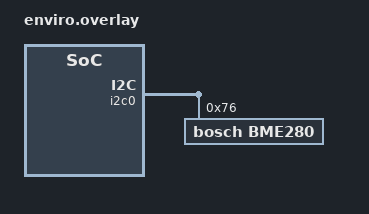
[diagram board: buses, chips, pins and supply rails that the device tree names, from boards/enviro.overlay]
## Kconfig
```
# Copyright (c) 2020, Nordic Semiconductor ASA
# SPDX-License-Identifier: Apache-2.0


# Enable SPI and I2C support by default so that the sample works with
# the device connected either way. These defaults can be overridden if
# needed.
config I2C
	default y

source "Kconfig.zephyr"
```

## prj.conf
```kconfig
#
# Copyright (c) 2023 Nordic Semiconductor ASA
#
# SPDX-License-Identifier: Apache-2.0
#
CONFIG_BT=y
CONFIG_BT_PERIPHERAL=y
CONFIG_BT_DEVICE_NAME="Enviro BME280"
CONFIG_GPIO=y
CONFIG_I2C=y
CONFIG_SENSOR=y
CONFIG_SENSOR_ASYNC_API=y
CONFIG_PRINTK=y
CONFIG_LOG_PRINTK=y
CONFIG_DSP=y
CONFIG_PM_DEVICE=y
CONFIG_PM_DEVICE_RUNTIME=n
CONFIG_PM_STATS=y
CONFIG_STATS=y

CONFIG_SERIAL=n
CONFIG_CONSOLE=y
CONFIG_UART_CONSOLE=y
CONFIG_LOG_MAX_LEVEL=4
CONFIG_LOG_OVERRIDE_LEVEL=4
```

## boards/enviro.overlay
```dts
&i2c0 {
	bme280@76 {
		/* 0x76 - SDO <-> GND */
		/* 0x77 - SDO <-> VCC */
		compatible = "bosch,bme280";
		reg = <0x76>;
		status = "okay";
	};
};
```

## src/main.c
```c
/*
 * Copyright (c) 2023 Nordic Semiconductor ASA
 *
 * SPDX-License-Identifier: Apache-2.0
 */

#include <zephyr/kernel.h>

#include <zephyr/device.h>
#include <zephyr/drivers/gpio.h>
#include <zephyr/drivers/sensor.h>
#include <zephyr/drivers/sensor_data_types.h>
#include <zephyr/rtio/rtio.h>

#include <zephyr/bluetooth/bluetooth.h>
#include <zephyr/bluetooth/uuid.h>
#include <zephyr/sys/printk.h>

/* size of stack area used by each thread */
#define STACKSIZE 256

/* scheduling priority used by each thread */
#define PRIORITY 7

#define LED_ON_TIME 100 // heartbeat LED on duration in microseconds
#define LED_FREQUENCY 5 // heartbeat LED frequency in seconds

const struct device *const dev = DEVICE_DT_GET_ANY(bosch_bme280);

SENSOR_DT_READ_IODEV(iodev, DT_COMPAT_GET_ANY_STATUS_OKAY(bosch_bme280),
		{SENSOR_CHAN_AMBIENT_TEMP, 0},
		{SENSOR_CHAN_HUMIDITY, 0},
		{SENSOR_CHAN_PRESS, 0});

RTIO_DEFINE(ctx, 1, 1);


#define LED0_NODE DT_ALIAS(led0)
static const struct gpio_dt_spec led_err = GPIO_DT_SPEC_GET(LED0_NODE, gpios);

#define LED1_NODE DT_ALIAS(led1)
static const struct gpio_dt_spec led_ok = GPIO_DT_SPEC_GET(LED1_NODE, gpios);

//#define LED1_NODE DT_ALIAS(led1)
//static const struct gpio_dt_spec led1 = GPIO_DT_SPEC_GET(LED1_NODE, gpios);


typedef enum led_status {
	HEARTBEAT,
	ERROR,
	FATAL
} led_status;

led_status led_current = HEARTBEAT;

#define SERVICE_DATA_LEN        9
#define SERVICE_UUID            0xfcd2      /* BTHome service UUID */
#define IDX_TEMPL               4           /* Index of lo byte of temp in service data*/
#define IDX_TEMPH               5           /* Index of hi byte of temp in service data*/

#define IDX_HUML                7
#define IDX_HUMH                8

#define ADV_PARAM BT_LE_ADV_PARAM(BT_LE_ADV_OPT_USE_IDENTITY, \
				  BT_GAP_ADV_SLOW_INT_MIN, \
				  BT_GAP_ADV_SLOW_INT_MAX, NULL)



#define DELAY 2000000
#define ALARM_CHANNEL_ID 0

static uint8_t service_data[SERVICE_DATA_LEN] = {
	BT_UUID_16_ENCODE(SERVICE_UUID),
	0x40,
	0x02,	/* Temperature */
	0xc4,	/* Low byte */
	0x00,   /* High byte */
	0x03,	/* Humidity */
	0xbf,	/* 50.55%  low byte*/
	0x13,   /* 50.55%  high byte*/
};

static struct bt_data ad[] = {
	BT_DATA_BYTES(BT_DATA_FLAGS, BT_LE_AD_GENERAL | BT_LE_AD_NO_BREDR),
	BT_DATA(BT_DATA_NAME_COMPLETE, CONFIG_BT_DEVICE_NAME, sizeof(CONFIG_BT_DEVICE_NAME) - 1),
	BT_DATA(BT_DATA_SVC_DATA16, service_data, ARRAY_SIZE(service_data))
};


static const struct device *check_bme280_device(void)
{
	if (dev == NULL) {
		/* No such node, or the node does not have status "okay". */
		printk("\nError: no device found.\n");
		return NULL;
	}

	if (!device_is_ready(dev)) {
		printk("\nError: Device \"%s\" is not ready; "
		       "check the driver initialization logs for errors.\n",
		       dev->name);
		return NULL;
	}

	printk("Found device \"%s\", getting sensor data\n", dev->name);
	return dev;
}

static void bt_ready(int err)
{
	if (err) {
		printk("Bluetooth init failed (err %d)\n", err);
		return;
	}

	printk("Bluetooth initialized\n");

	/* Start advertising */
	err = bt_le_adv_start(ADV_PARAM, ad, ARRAY_SIZE(ad), NULL, 0);
	if (err) {
		printk("Advertising failed to start (err %d)\n", err);
		return;
	}
}

void status_led(void) {
	int err;

	if (!gpio_is_ready_dt(&led_ok) || !gpio_is_ready_dt(&led_err)) {
		printk("LED: device not ready.\n");
		return;
	}

	err = gpio_pin_configure_dt(&led_ok, GPIO_OUTPUT_ACTIVE);
	err = gpio_pin_configure_dt(&led_err, GPIO_OUTPUT_ACTIVE);
	if (err < 0) {
		printk("LED: device failed.\n");
		return;
	}

	while (1) {
		switch (led_current) {
			case HEARTBEAT:
				err = gpio_pin_set_dt(&led_err, 1);
				err = gpio_pin_set_dt(&led_ok, 0);
				k_usleep(LED_ON_TIME);
				err = gpio_pin_set_dt(&led_ok, 1);
				k_sleep(K_SECONDS(LED_FREQUENCY));
				break;
			case ERROR:
			case FATAL:
				err = gpio_pin_set_dt(&led_ok, 1);
				err = gpio_pin_set_dt(&led_err, 0);
				k_usleep(LED_ON_TIME);
				err = gpio_pin_set_dt(&led_err, 1);
				k_sleep(K_MSEC(100));
				break;
		};
	}
}

K_THREAD_DEFINE(status_led_id, STACKSIZE, status_led, NULL, NULL, NULL, PRIORITY, 0, 0);

static void set_status_led(led_status s) {
	if (led_current == s) return;
	led_current = s;
	k_wakeup(status_led_id);
	if (s == FATAL) {
		while(true) {
			k_sleep(K_SECONDS(1));
		}
	}
}

int main(void)
{
	int err;
	set_status_led(HEARTBEAT);

	printk("Starting BTHome sensor template\n");

	const struct device *dev = check_bme280_device();

	if (dev == NULL) {
		set_status_led(FATAL);
	}

	/* Initialize the Bluetooth Subsystem */
	err = bt_enable(bt_ready);
	if (err) {
		printk("Bluetooth init failed (err %d)\n", err);
		return 0;
	}

	/*bt_addr_le_t addr[CONFIG_BT_ID_MAX];
	char saddr[BT_ADDR_LE_STR_LEN];
	size_t count;
	bt_id_get(addr, &count);
	bt_addr_le_to_str(&addr[0], saddr, sizeof(saddr));*/

	//printf("Bluetooth Mac: %s\n", saddr);

	for (;;) {
		uint8_t buf[128];

		int rc = sensor_read(&iodev, &ctx, buf, 128);

		if (rc != 0) {
			printk("%s: sensor_read() failed: %d\n", dev->name, rc);
			set_status_led(ERROR);
		} else {
			set_status_led(HEARTBEAT);
		}

		const struct sensor_decoder_api *decoder;

		rc = sensor_get_decoder(dev, &decoder);

		uint32_t temp_fit = 0;
		struct sensor_q31_data temp_data = {0};

		decoder->decode(buf,
			(struct sensor_chan_spec) {SENSOR_CHAN_AMBIENT_TEMP, 0},
			&temp_fit, 1, &temp_data);

		uint32_t press_fit = 0;
		struct sensor_q31_data press_data = {0};

		decoder->decode(buf,
				(struct sensor_chan_spec) {SENSOR_CHAN_PRESS, 0},
				&press_fit, 1, &press_data);

		uint32_t hum_fit = 0;
		struct sensor_q31_data hum_data = {0};

		decoder->decode(buf,
				(struct sensor_chan_spec) {SENSOR_CHAN_HUMIDITY, 0},
				&hum_fit, 1, &hum_data);

		printk("temp: %s%d.%d; press: %s%d.%d; humidity: %s%d.%d\n",
			PRIq_arg(temp_data.readings[0].temperature, 6, temp_data.shift),
			PRIq_arg(press_data.readings[0].pressure, 6, press_data.shift),
			PRIq_arg(hum_data.readings[0].humidity, 6, hum_data.shift));

		int itemp = (uint32_t)__PRIq_arg_get_int(temp_data.readings[0].temperature, temp_data.shift);
		int ftemp = (uint32_t)__PRIq_arg_get_frac(temp_data.readings[0].temperature, 2, temp_data.shift);
		int16_t temp = (itemp * 100) + ftemp;

		int ihum = (uint32_t)__PRIq_arg_get_int(temp_data.readings[0].humidity, hum_data.shift);
		int fhum = (uint32_t)__PRIq_arg_get_frac(temp_data.readings[0].humidity, 2, hum_data.shift);
		int16_t hum = (ihum * 100) + fhum;

		/* Simulate temperature from 0C to 25C */
		service_data[IDX_TEMPH] = temp >> 8;
		service_data[IDX_TEMPL] = temp & 0xff;
	
		service_data[IDX_HUMH] = hum >> 8;
		service_data[IDX_HUML] = hum & 0xff;
	
		err = bt_le_adv_update_data(ad, ARRAY_SIZE(ad), NULL, 0);
		if (err) {
			printk("Failed to update advertising data (err %d)\n", err);
		} else {
			printk("Updated advertising data (temp %d.%d, %lld)\n", itemp, ftemp, temp);
		}
	
		k_sleep(K_MSEC(BT_GAP_ADV_SLOW_INT_MIN));
		//k_sleep(K_MSEC(1600 * 30));
	}
	return 0;
}
```
